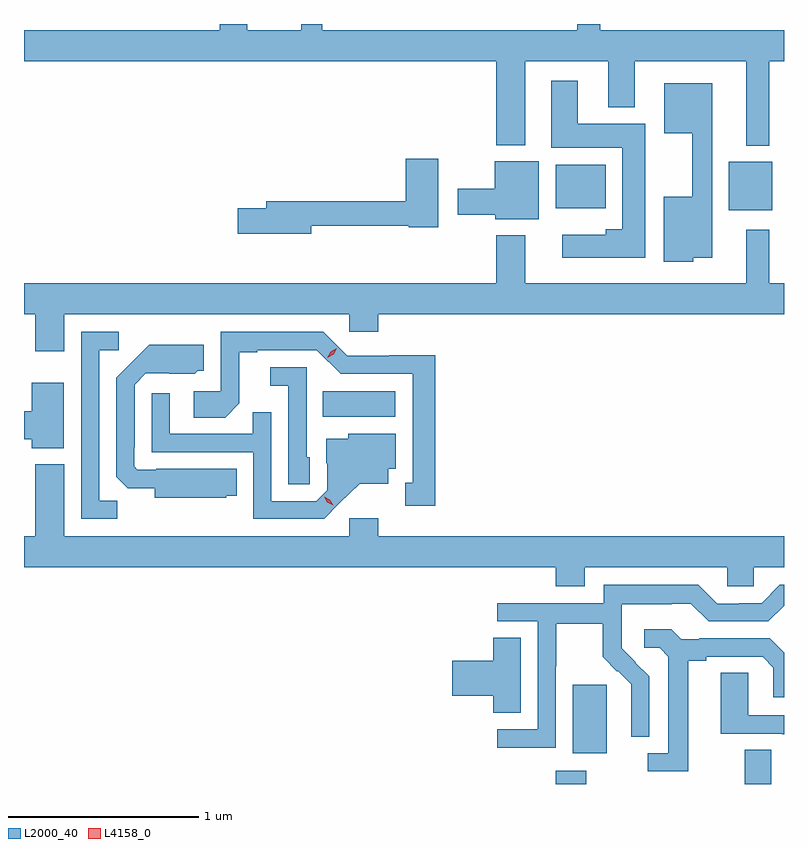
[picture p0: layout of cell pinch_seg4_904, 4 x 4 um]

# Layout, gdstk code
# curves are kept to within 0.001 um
import gdstk
lib = gdstk.Library(unit=1e-6, precision=1e-09)
def R(c, l, rs):  # rectangles x0, y0, x1, y1
    for r in rs: c.add(gdstk.rectangle(r[:2], r[2:], *l))
def P(c, l, *ps):  # polygons
    for p in ps: c.add(gdstk.Polygon(p, *l))
L2000_40 = (2000, 40)
L4158_0 = (4158, 0)

pinch_seg4_904 = lib.new_cell('pinch_seg4_904')
R(pinch_seg4_904, L2000_40, [(745.763,824.984,745.923,825.055), (746.759,824.984,746.899,825.164), (745.853,825.146,746.032,825.507), (744.538,826.916,744.919,827.05), (746.675,828.005,746.902,828.259), (745.763,828.014,746.026,828.244)])
P(pinch_seg4_904, L2000_40, [(746.887,828.788),(746.965,828.788),(746.965,828.952),(745.999,828.952),(745.999,828.984),(745.877,828.984),(745.877,828.952),(744.534,828.952),(744.534,828.984),(744.423,828.984),(744.423,828.952),(744.141,828.952),(744.141,828.984),(743.994,828.984),(743.994,828.952),(742.965,828.952),(742.965,828.788),(745.451,828.788),(745.451,828.347),(745.603,828.347),(745.603,828.788),(746.039,828.788),(746.039,828.545),(746.179,828.545),(746.179,828.788),(746.765,828.788),(746.765,828.344),(746.887,828.344)],
  [(746.236,828.46),(745.879,828.46),(745.879,828.685),(745.739,828.685),(745.739,828.332),(746.114,828.332),(746.114,827.905),(746.027,827.905),(746.027,827.875),(745.797,827.875),(745.797,827.753),(746.236,827.753)],
  [(746.487,827.753),(746.587,827.753),(746.587,828.673),(746.336,828.673),(746.336,828.41),(746.483,828.41),(746.483,828.076),(746.333,828.076),(746.333,827.732),(746.487,827.732)],
  [(744.478,827.922),(744.99,827.922),(744.99,827.914),(745.144,827.914),(745.144,828.274),(744.974,828.274),(744.974,828.05),(744.239,828.05),(744.239,828.014),(744.09,828.014),(744.09,827.879),(744.478,827.879)],
  [(745.675,828.262),(745.442,828.262),(745.442,828.116),(745.248,828.116),(745.248,827.981),(745.446,827.981),(745.446,827.957),(745.675,827.957)],
  [(743.176,827.456),(744.678,827.456),(744.678,827.363),(744.83,827.363),(744.83,827.456),(746.965,827.456),(746.965,827.62),(746.887,827.62),(746.887,827.902),(746.765,827.902),(746.765,827.62),(745.603,827.62),(745.603,827.872),(745.451,827.872),(745.451,827.62),(742.965,827.62),(742.965,827.456),(743.024,827.456),(743.024,827.262),(743.176,827.262)],
  [(745.129,827.24),(744.888,827.24),(744.888,827.238),(744.666,827.238),(744.54,827.364),(744,827.364),(744,827.052),(743.859,827.052),(743.859,826.912),(744.023,826.912),(744.099,826.988),(744.099,827.256),(744.193,827.256),(744.193,827.268),(744.507,827.268),(744.633,827.142),(745.01,827.142),(745.01,826.569),(744.971,826.569),(744.971,826.449),(745.129,826.449)],
  [(743.457,826.475),(743.361,826.475),(743.361,827.268),(743.464,827.268),(743.464,827.364),(743.265,827.364),(743.265,826.38),(743.457,826.38)],
  [(744.03,826.502),(744.086,826.502),(744.086,826.642),(743.662,826.642),(743.662,826.638),(743.562,826.638),(743.544,826.656),(743.544,826.756),(743.547,826.756),(743.547,827.085),(743.607,827.145),(743.864,827.144),(743.88,827.16),(743.911,827.16),(743.911,827.296),(743.623,827.296),(743.451,827.122),(743.451,826.6),(743.51,826.541),(743.654,826.541),(743.654,826.49),(744.03,826.49)],
  [(744.468,826.704),(744.453,826.704),(744.453,827.178),(744.261,827.178),(744.261,827.081),(744.357,827.081),(744.357,826.561),(744.468,826.561)],
  [(743.173,827.095),(743.006,827.095),(743.006,826.946),(742.965,826.946),(742.965,826.799),(743.006,826.799),(743.006,826.751),(743.173,826.751)],
  [(744.628,826.463),(744.731,826.565),(744.883,826.565),(744.883,826.644),(744.922,826.644),(744.922,826.828),(744.672,826.828),(744.672,826.801),(744.557,826.801),(744.557,826.672),(744.561,826.672),(744.561,826.53),(744.504,826.473),(744.267,826.473),(744.267,826.94),(744.169,826.94),(744.169,826.827),(743.733,826.827),(743.733,827.041),(743.637,827.041),(743.637,826.731),(744.171,826.731),(744.171,826.38),(744.544,826.38)],
  [(745.915,826.124),(746.667,826.124),(746.667,826.026),(746.805,826.026),(746.805,826.124),(746.965,826.124),(746.965,826.288),(744.83,826.288),(744.83,826.384),(744.678,826.384),(744.678,826.288),(743.176,826.288),(743.176,826.666),(743.024,826.666),(743.024,826.288),(742.965,826.288),(742.965,826.124),(745.763,826.124),(745.763,826.025),(745.915,826.025)],
  [(745.764,825.604),(745.767,825.604),(745.767,825.828),(746.011,825.828),(746.011,825.653),(746.088,825.576),(746.091,825.579),(746.162,825.509),(746.162,825.386),(746.16,825.386),(746.16,825.232),(746.256,825.232),(746.256,825.55),(746.11,825.698),(746.11,825.795),(746.112,825.795),(746.112,825.929),(746.375,825.929),(746.375,825.933),(746.475,825.933),(746.568,825.84),(746.883,825.84),(746.965,825.922),(746.965,826.032),(746.943,826.032),(746.847,825.936),(746.729,825.936),(746.729,825.933),(746.613,825.933),(746.513,826.033),(746.016,826.033),(746.016,825.936),(745.455,825.936),(745.455,825.84),(745.668,825.84),(745.668,825.273),(745.455,825.273),(745.455,825.175),(745.764,825.175)],
  [(746.461,825.632),(746.557,825.632),(746.557,825.654),(746.852,825.654),(746.909,825.597),(746.909,825.441),(746.965,825.441),(746.965,825.675),(746.89,825.75),(746.518,825.75),(746.518,825.747),(746.424,825.747),(746.372,825.799),(746.229,825.799),(746.229,825.702),(746.31,825.702),(746.357,825.655),(746.357,825.147),(746.247,825.147),(746.247,825.051),(746.461,825.051)],
  [(745.579,825.755),(745.436,825.755),(745.436,825.632),(745.218,825.632),(745.218,825.449),(745.436,825.449),(745.436,825.358),(745.579,825.358)],
  [(746.965,825.345),(746.778,825.345),(746.778,825.569),(746.633,825.569),(746.633,825.249),(746.957,825.249),(746.957,825.245),(746.965,825.245)])
P(pinch_seg4_904, L4158_0, [(744.562,827.227),(744.562,827.227),(744.58,827.259),(744.612,827.277),(744.612,827.277),(744.612,827.277),(744.594,827.245),(744.562,827.227)],
  [(744.592,826.452),(744.561,826.466),(744.544,826.496),(744.544,826.496),(744.544,826.496),(744.575,826.481),(744.592,826.452),(744.592,826.452)])

lib.write_gds('pinch_seg4_904.gds')
